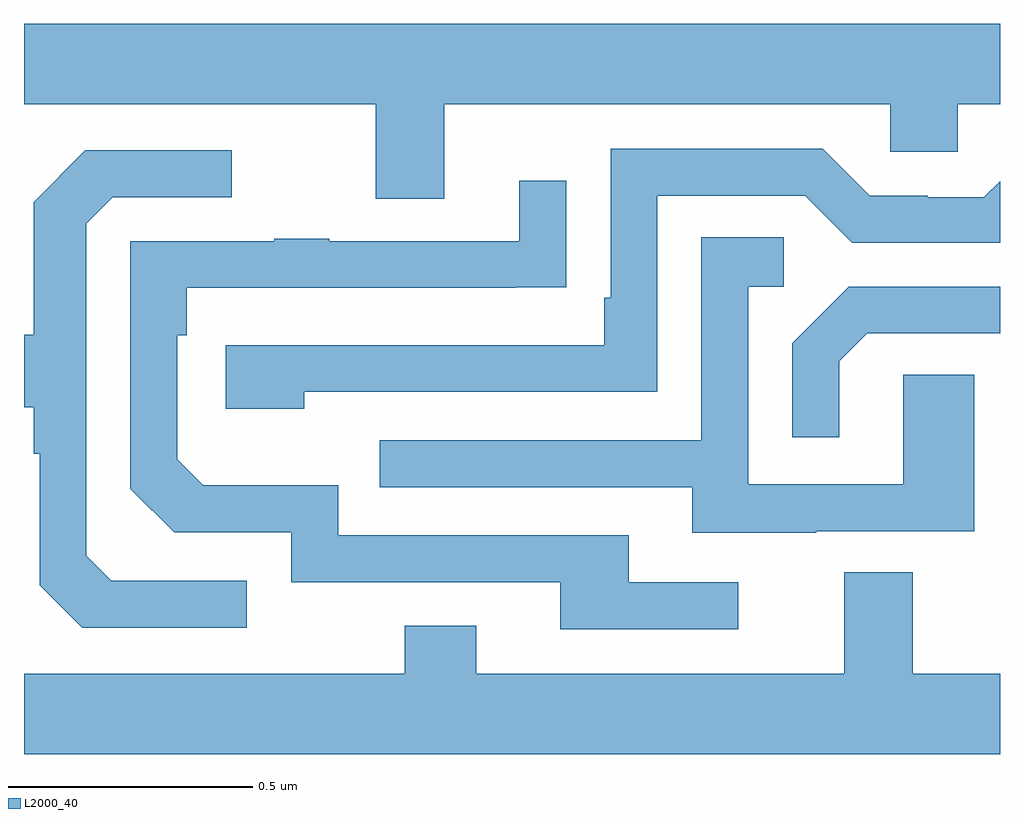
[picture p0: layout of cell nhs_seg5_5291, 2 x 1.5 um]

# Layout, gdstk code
import gdstk
lib = gdstk.Library(unit=1e-6, precision=1e-09)
def P(c, l, *ps):  # polygons
    for p in ps: c.add(gdstk.Polygon(p, *l))
L2000_40 = (2000, 40)

nhs_seg5_5291 = lib.new_cell('nhs_seg5_5291')
P(nhs_seg5_5291, L2000_40, [(181.861,871.412),(182.775,871.412),(182.775,871.314),(182.913,871.314),(182.913,871.412),(183,871.412),(183,871.576),(181,871.576),(181,871.412),(181.721,871.412),(181.721,871.218),(181.861,871.218)],
  [(181.574,870.822),(182.298,870.822),(182.298,871.224),(182.601,871.224),(182.697,871.128),(183,871.128),(183,871.254),(182.967,871.221),(182.852,871.221),(182.852,871.224),(182.733,871.224),(182.637,871.32),(182.202,871.32),(182.202,871.015),(182.189,871.015),(182.189,870.918),(181.413,870.918),(181.413,870.788),(181.574,870.788)],
  [(181.456,870.435),(181.179,870.435),(181.128,870.486),(181.128,871.167),(181.182,871.221),(181.426,871.221),(181.426,871.317),(181.125,871.317),(181.02,871.211),(181.02,870.939),(181,870.939),(181,870.791),(181.02,870.791),(181.02,870.695),(181.032,870.695),(181.032,870.426),(181.119,870.339),(181.456,870.339)],
  [(182.464,870.432),(182.239,870.432),(182.239,870.528),(181.644,870.528),(181.644,870.631),(181.367,870.631),(181.314,870.684),(181.314,870.938),(181.334,870.938),(181.334,871.035),(182.009,871.035),(182.009,871.036),(182.111,871.036),(182.111,871.255),(182.015,871.255),(182.015,871.131),(181.625,871.131),(181.625,871.136),(181.513,871.136),(181.513,871.131),(181.218,871.131),(181.218,870.624),(181.308,870.534),(181.548,870.534),(181.548,870.432),(182.099,870.432),(182.099,870.336),(182.464,870.336)],
  [(182.623,870.537),(182.947,870.537),(182.947,870.857),(182.802,870.857),(182.802,870.633),(182.484,870.633),(182.484,871.038),(182.557,871.038),(182.557,871.139),(182.388,871.139),(182.388,870.723),(181.729,870.723),(181.729,870.627),(182.369,870.627),(182.369,870.533),(182.623,870.533)],
  [(182.671,870.885),(182.728,870.942),(183,870.942),(183,871.038),(182.69,871.038),(182.574,870.922),(182.574,870.729),(182.671,870.729)],
  [(183,870.244),(182.821,870.244),(182.821,870.452),(182.681,870.452),(182.681,870.244),(181.927,870.244),(181.927,870.343),(181.78,870.343),(181.78,870.244),(181,870.244),(181,870.08),(183,870.08)])

lib.write_gds('nhs_seg5_5291.gds')
